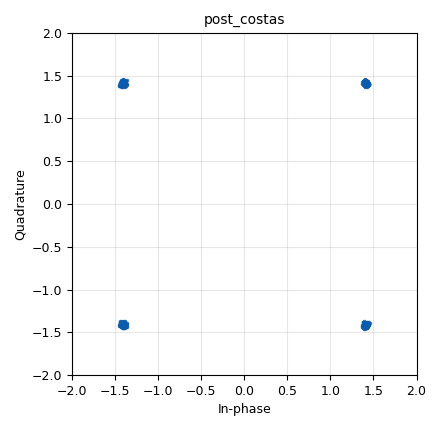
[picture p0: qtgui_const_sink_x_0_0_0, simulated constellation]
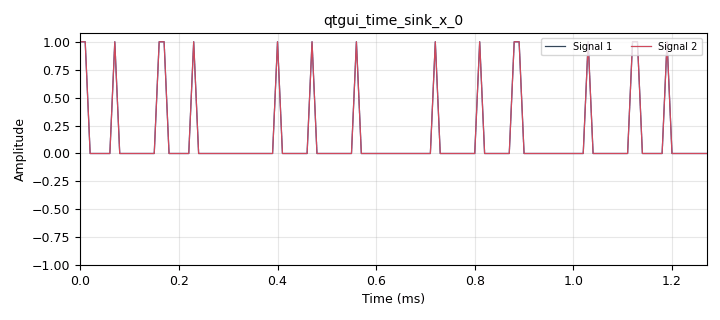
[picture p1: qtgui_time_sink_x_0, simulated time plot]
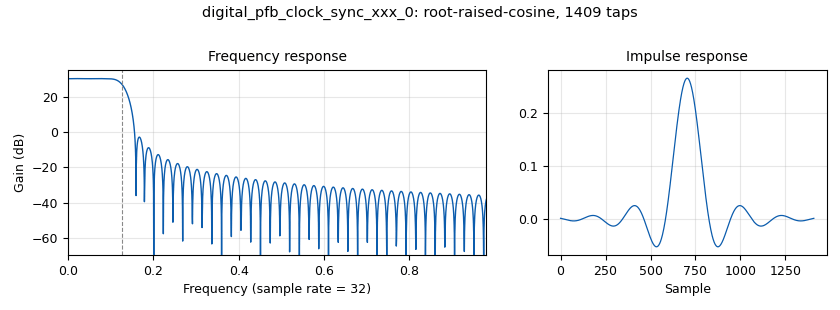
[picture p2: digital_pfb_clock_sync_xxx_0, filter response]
options:
  parameters:
    author: J. Gier
    generate_options: qt_gui
    id: qpsk_trial1
    output_language: python
    title: QPSK Modulator / Demodulator
  states: {}

blocks:
- name: cma_alg
  id: variable_adaptive_algorithm
  parameters:
    cons: qpsk
    modulus: '4'
    step_size: '100e-6'
    type: cma
  states: {}
- name: delay
  id: variable_qtgui_range
  parameters:
    label: Delay
    start: '0'
    step: '1'
    stop: '500'
    value: '58'
  states: {}
- name: excess_bw
  id: variable
  parameters:
    value: '0.220'
  states: {}
- name: freq_offset
  id: variable_qtgui_range
  parameters:
    label: 'Channel: Freq Offset'
    start: '-100e-3'
    step: '10e-3'
    stop: '100e-3'
    value: '0'
  states: {}
- name: nfilts
  id: variable
  parameters:
    value: '32'
  states: {}
- name: noise_volt
  id: variable_qtgui_range
  parameters:
    label: 'Channel: Noise Voltage'
    start: '0'
    step: '100e-3'
    stop: '500e-3'
    value: '10E-3'
  states: {}
- name: phase_bw
  id: variable
  parameters:
    value: '62.8e-3'
  states: {}
- name: qpsk
  id: variable_constellation
  parameters:
    precision: '8'
    type: qpsk
  states: {state: disabled}
- name: qpsk
  id: variable_constellation_rect
  parameters:
    const_points: '[-1-1j, -1+1j, 1+1j, 1-1j]'
    imag_sect: '2'
    real_sect: '2'
    rot_sym: '4'
    sym_map: '[0, 1, 3, 2]'
    w_imag_sect: '1'
    w_real_sect: '1'
  states: {}
- name: rrc_taps
  id: variable
  parameters:
    value: firdes.root_raised_cosine(nfilts, nfilts, 1.0/float(sps), excess_bw, 11*sps*nfilts)
  states: {}
- name: samp_rate
  id: variable
  parameters:
    value: 100e3
  states: {}
- name: sps
  id: variable
  parameters:
    value: '4'
  states: {}
- name: time_offset
  id: variable_qtgui_range
  parameters:
    label: 'Channel: time offset'
    start: '999e-3'
    step: '100e-6'
    stop: '1.001'
    value: '1'
  states: {}
- name: analog_random_source_x_0
  id: analog_random_source_x
  parameters:
    max: '5'
    min: '0'
    num_samps: '10000000'
    repeat: 'True'
    type: byte
  states: {}
- name: blocks_char_to_float_0
  id: blocks_char_to_float
  parameters:
    scale: '1'
  states: {}
- name: blocks_char_to_float_0_0
  id: blocks_char_to_float
  parameters:
    scale: '1'
  states: {}
- name: blocks_char_to_float_1
  id: blocks_char_to_float
  parameters:
    scale: '1'
  states: {}
- name: blocks_delay_0
  id: blocks_delay
  parameters:
    delay: delay
    type: byte
  states: {}
- name: blocks_file_sink_0
  id: blocks_file_sink
  parameters:
    file: C:\Users\JoshGier\Desktop\Comms_Testing\gnu_radio_git\qpsk\files\tx_data.bin
    type: byte
  states: {state: disabled}
- name: blocks_file_sink_0_0
  id: blocks_file_sink
  parameters:
    file: C:\Users\JoshGier\Desktop\Comms_Testing\gnu_radio_git\qpsk\files\rx_data.bin
    type: byte
  states: {state: disabled}
- name: blocks_file_sink_0_0_0
  id: blocks_file_sink
  parameters:
    file: C:\Users\JoshGier\Desktop\Comms_Testing\gnu_radio_git\qpsk\files\sequence_test_out.bin
    type: byte
  states: {state: disabled}
- name: blocks_head_0
  id: blocks_head
  parameters:
    num_items: '10000'
    type: byte
  states: {state: disabled}
- name: blocks_head_0_0
  id: blocks_head
  parameters:
    num_items: '10000'
    type: byte
  states: {state: disabled}
- name: blocks_integrate_xx_0
  id: blocks_integrate_xx
  parameters:
    decim: '100'
    type: float
  states: {}
- name: blocks_multiply_const_vxx_0
  id: blocks_multiply_const_vxx
  parameters:
    const: '10e-3'
    type: float
  states: {}
- name: blocks_throttle2_0
  id: blocks_throttle2
  parameters:
    samples_per_second: samp_rate
    type: complex
  states: {}
- name: blocks_unpack_k_bits_bb_1
  id: blocks_unpack_k_bits_bb
  parameters:
    k: '2'
  states: {}
- name: blocks_unpack_k_bits_bb_1_0
  id: blocks_unpack_k_bits_bb
  parameters:
    k: '8'
  states: {}
- name: blocks_xor_xx_0
  id: blocks_xor_xx
  parameters:
    type: byte
  states: {}
- name: channels_channel_model_0
  id: channels_channel_model
  parameters:
    comment: Epsilon is time offset
    epsilon: time_offset
    freq_offset: freq_offset
    noise_voltage: noise_volt
    seed: '0'
    taps: '1.0'
  states: {}
- name: digital_constellation_decoder_cb_0
  id: digital_constellation_decoder_cb
  parameters:
    constellation: qpsk
  states: {}
- name: digital_constellation_modulator_0
  id: digital_constellation_modulator
  parameters:
    constellation: qpsk
    differential: 'True'
    excess_bw: excess_bw
    samples_per_symbol: sps
  states: {}
- name: digital_costas_loop_cc_0
  id: digital_costas_loop_cc
  parameters:
    order: sps
    use_snr: 'True'
    w: 2*3.14/50
  states: {}
- name: digital_diff_decoder_bb_0
  id: digital_diff_decoder_bb
  parameters:
    coding: digital.DIFF_DIFFERENTIAL
    modulus: '4'
  states: {}
- name: digital_linear_equalizer_0
  id: digital_linear_equalizer
  parameters:
    alg: cma_alg
    comment: Used to reduce ISI and multipath
    num_taps: '15'
    sps: '1'
    training_sequence: '[]'
  states: {}
- name: digital_map_bb_0
  id: digital_map_bb
  parameters:
    map: '[0,1,3,2]'
  states: {}
- name: digital_pfb_clock_sync_xxx_0
  id: digital_pfb_clock_sync_xxx
  parameters:
    filter_size: nfilts
    init_phase: nfilts/2
    loop_bw: phase_bw
    max_dev: '1.5'
    osps: '1'
    sps: sps
    taps: rrc_taps
    type: ccf
  states: {}
- name: digital_symbol_sync_xx_0
  id: digital_symbol_sync_xx
  parameters:
    damping: '1.0'
    loop_bw: phase_bw
    max_dev: '1.5'
    nfilters: nfilts
    osps: '1'
    pfb_mf_taps: rrc_taps
    resamp_type: digital.IR_PFB_MF
    sps: sps
    ted_gain: '1'
    ted_type: digital.TED_SIGNAL_TIMES_SLOPE_ML
    type: cc
  states: {state: disabled}
- name: note_0
  id: note
  parameters:
    note: 'Source: https://wiki.gnuradio.org/index.php?title=QPSK_Mod_and_Demod#Objectives'
  states: {}
- name: qtgui_const_sink_x_0_0_0
  id: qtgui_const_sink_x
  parameters:
    name: post_costas
    size: '2056'
    type: complex
  states: {}
- name: qtgui_number_sink_0
  id: qtgui_number_sink
  parameters:
    graph_type: qtgui.NUM_GRAPH_HORIZ
    type: float
  states: {}
- name: qtgui_time_sink_x_0
  id: qtgui_time_sink_x
  parameters:
    nconnections: '2'
    size: '128'
    srate: samp_rate
    type: float
  states: {}
- name: virtual_sink_0
  id: virtual_sink
  parameters:
    stream_id: r1
  states: {}
- name: virtual_sink_1
  id: virtual_sink
  parameters:
    stream_id: r2
  states: {}
- name: virtual_sink_1_0
  id: virtual_sink
  parameters:
    stream_id: t1
  states: {}
- name: virtual_source_0
  id: virtual_source
  parameters:
    stream_id: r1
  states: {}
- name: virtual_source_1
  id: virtual_source
  parameters:
    stream_id: r2
  states: {}
- name: virtual_source_1_0
  id: virtual_source
  parameters:
    stream_id: t1
  states: {}
- name: virtual_source_2
  id: virtual_source
  parameters:
    stream_id: t1
  states: {state: disabled}
- name: virtual_source_2_0
  id: virtual_source
  parameters:
    stream_id: r2
  states: {state: disabled}

connections:
- [analog_random_source_x_0, '0', digital_constellation_modulator_0, '0']
- [analog_random_source_x_0, '0', virtual_sink_1_0, '0']
- [blocks_char_to_float_0, '0', qtgui_time_sink_x_0, '0']
- [blocks_char_to_float_0_0, '0', qtgui_time_sink_x_0, '1']
- [blocks_char_to_float_1, '0', blocks_integrate_xx_0, '0']
- [blocks_delay_0, '0', blocks_char_to_float_0_0, '0']
- [blocks_delay_0, '0', blocks_xor_xx_0, '1']
- [blocks_head_0, '0', blocks_file_sink_0, '0']
- [blocks_head_0_0, '0', blocks_file_sink_0_0, '0']
- [blocks_integrate_xx_0, '0', blocks_multiply_const_vxx_0, '0']
- [blocks_multiply_const_vxx_0, '0', qtgui_number_sink_0, '0']
- [blocks_throttle2_0, '0', channels_channel_model_0, '0']
- [blocks_unpack_k_bits_bb_1, '0', blocks_char_to_float_0, '0']
- [blocks_unpack_k_bits_bb_1, '0', blocks_file_sink_0_0_0, '0']
- [blocks_unpack_k_bits_bb_1, '0', blocks_xor_xx_0, '0']
- [blocks_unpack_k_bits_bb_1_0, '0', blocks_delay_0, '0']
- [blocks_xor_xx_0, '0', blocks_char_to_float_1, '0']
- [channels_channel_model_0, '0', digital_pfb_clock_sync_xxx_0, '0']
- [channels_channel_model_0, '0', digital_symbol_sync_xx_0, '0']
- [digital_constellation_decoder_cb_0, '0', digital_diff_decoder_bb_0, '0']
- [digital_constellation_modulator_0, '0', blocks_throttle2_0, '0']
- [digital_costas_loop_cc_0, '0', digital_constellation_decoder_cb_0, '0']
- [digital_costas_loop_cc_0, '0', qtgui_const_sink_x_0_0_0, '0']
- [digital_diff_decoder_bb_0, '0', digital_map_bb_0, '0']
- [digital_linear_equalizer_0, '0', virtual_sink_0, '0']
- [digital_map_bb_0, '0', virtual_sink_1, '0']
- [digital_pfb_clock_sync_xxx_0, '0', digital_linear_equalizer_0, '0']
- [digital_symbol_sync_xx_0, '0', digital_linear_equalizer_0, '0']
- [virtual_source_0, '0', digital_costas_loop_cc_0, '0']
- [virtual_source_1, '0', blocks_unpack_k_bits_bb_1, '0']
- [virtual_source_1_0, '0', blocks_unpack_k_bits_bb_1_0, '0']
- [virtual_source_2, '0', blocks_head_0, '0']
- [virtual_source_2_0, '0', blocks_head_0_0, '0']

metadata:
  file_format: 1
  grc_version: 3.10.12.0
